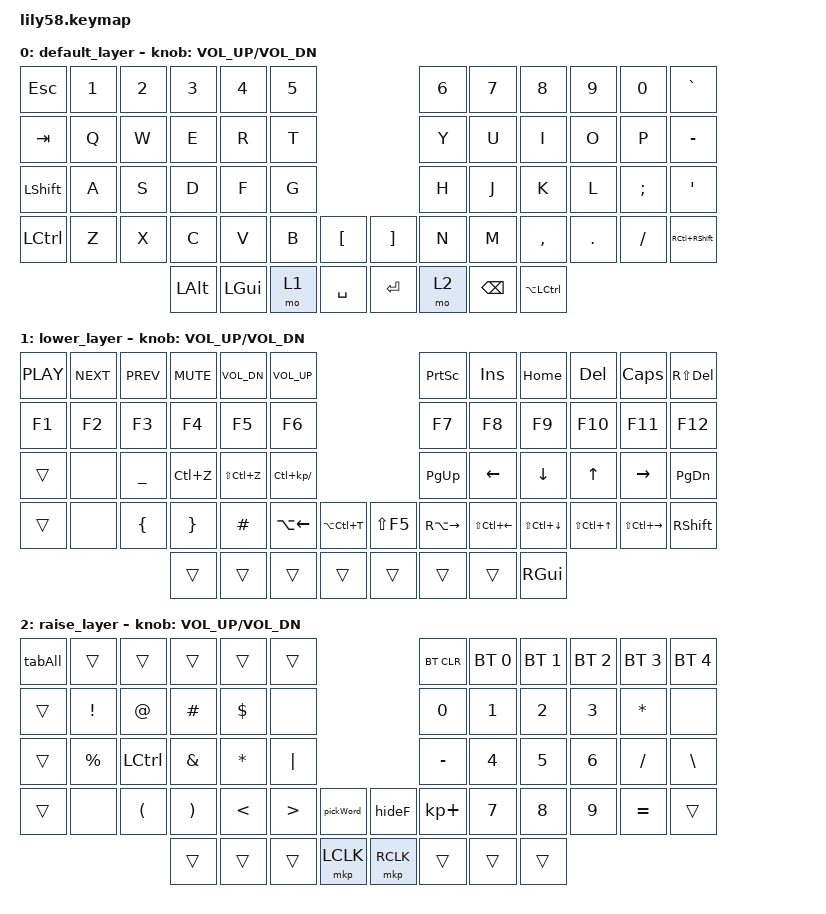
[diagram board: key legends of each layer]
/*
 * Copyright (c) 2020 The ZMK Contributors
 *
 * SPDX-License-Identifier: MIT
 */

#include <behaviors.dtsi>
#include <dt-bindings/zmk/bt.h>
#include <dt-bindings/zmk/keys.h>
#include <dt-bindings/zmk/mouse.h>

/ {
    macros {
        pickWord: pickWord {
            compatible = "zmk,behavior-macro";
            #binding-cells = <0>;
            bindings = <&kp LC(LEFT_ARROW) &kp RS(RC(RIGHT_ARROW))>;
            label = "PICKWORD";
        };

        hideF: hideF {
            compatible = "zmk,behavior-macro";
            #binding-cells = <0>;
            bindings = <&kp LC(RIGHT_BRACE) &kp RS(RC(LEFT_BRACE)) &kp LC(KP_SLASH)>;
            label = "HIDEF";
        };

        tabAll: tabAll {
            compatible = "zmk,behavior-macro";
            #binding-cells = <0>;
            bindings = <&kp LC(A) &kp LC(I)>;
            label = "TABALL";
        };
    };

    keymap {
        compatible = "zmk,keymap";

        default_layer {
            // ------------------------------------------------------------------------------------------------------------
            // |  ESC  |  1  |  2  |  3   |  4   |  5   |                   |  6   |  7    |  8    |  9   |   0   |   `   |
            // |  TAB  |  Q  |  W  |  E   |  R   |  T   |                   |  Y   |  U    |  I    |  O   |   P   |   -   |
            // |  CTRL |  A  |  S  |  D   |  F   |  G   |                   |  H   |  J    |  K    |  L   |   ;   |   '   |
            // | SHIFT |  Z  |  X  |  C   |  V   |  B   |   "["  |  |  "]"  |  N   |  M    |  ,    |  .   |   /   | SHIFT |
            //                     | ALT  | GUI  | LOWER|  SPACE |  | ENTER | RAISE| BSPC  | GUI   |

            bindings = <
&kp ESC           &kp N1  &kp N2  &kp N3    &kp N4    &kp N5                         &kp N6  &kp N7    &kp N8                &kp N9   &kp N0    &kp GRAVE
&kp TAB           &kp Q   &kp W   &kp E     &kp R     &kp T                          &kp Y   &kp U     &kp I                 &kp O    &kp P     &kp MINUS
&kp LEFT_SHIFT    &kp A   &kp S   &kp D     &kp F     &kp G                          &kp H   &kp J     &kp K                 &kp L    &kp SEMI  &kp SQT
&kp LEFT_CONTROL  &kp Z   &kp X   &kp C     &kp V     &kp B   &kp LBKT     &kp RBKT  &kp N   &kp M     &kp COMMA             &kp DOT  &kp FSLH  &kp RC(RIGHT_SHIFT)
                                  &kp LALT  &kp LGUI  &mo 1   &kp SPACE    &kp RET   &mo 2   &kp BSPC  &kp LA(LEFT_CONTROL)
            >;

            sensor-bindings = <&inc_dec_kp C_VOL_UP C_VOL_DN>;
        };

        lower_layer {
            // --------------------------------------------------------------------------------------------------------------
            // | LPAD  | BRDn | BRUp |  MUT |  Vo- |  Vo+ |                   |      |       |       |      |       |       |
            // |  F1   |  F2  |  F3  |  F4  |  F5  |  F6  |                   |  F7  |  F8   |  F9   |  F10 |  F11  |  F12  |
            // |   `   |  !   |  @   |  #   |  $   |  %   |                   |  ^   |  &    |  *    |  (   |   )   |   ~   |
            // |       |      |      |      |      |      |        |  |       |      |  _    |  +    |  {   |   }   |  "|"  |
            //                       |      |      |      |        |  |       |      |       |       |

            bindings = <
&kp C_PLAY  &kp C_NEXT  &kp C_PREV      &kp C_MUTE       &kp C_VOL_DN   &kp C_VOL_UP                                     &kp PRINTSCREEN  &kp INSERT              &kp HOME                &kp DELETE            &kp CAPSLOCK             &kp RS(DELETE)
&kp F1      &kp F2      &kp F3          &kp F4           &kp F5         &kp F6                                           &kp F7           &kp F8                  &kp F9                  &kp F10               &kp F11                  &kp F12
&trans      &none       &kp UNDERSCORE  &kp LC(Z)        &kp LS(LC(Z))  &kp LC(KP_SLASH)                                 &kp PAGE_UP      &kp LEFT_ARROW          &kp DOWN_ARROW          &kp UP_ARROW          &kp RIGHT_ARROW          &kp PAGE_DOWN
&trans      &none       &kp LEFT_BRACE  &kp RIGHT_BRACE  &kp HASH       &kp LA(LEFT_ARROW)  &kp LA(LC(T))    &kp LS(F5)  &kp RA(RIGHT)    &kp LS(LC(LEFT_ARROW))  &kp LS(LC(DOWN_ARROW))  &kp LS(LC(UP_ARROW))  &kp LS(LC(RIGHT_ARROW))  &kp RIGHT_SHIFT
                                        &trans           &trans         &trans              &trans           &trans      &trans           &trans                  &kp RIGHT_GUI
            >;

            sensor-bindings = <&inc_dec_kp C_VOL_UP C_VOL_DN>;
        };

        raise_layer {
            // ------------------------------------------------------------------------------------------------------------
            // |       |     |     |      |      |      |                   |      |       |       |      |       |       |
            // |   `   |  1  |  2  |  3   |  4   |  5   |                   |  6   |   7   |   8   |  9   |   0   |       |
            // |   F1  |  F2 |  F3 |  F4  |  F5  |  F6  |                   |      |   <-  |   v   |  ^   |  ->   |       |
            // |   F7  |  F8 |  F9 |  F10 |  F11 |  F12 |        |  |       |  +   |   -   |   =   |  [   |   ]   |   \   |
            //                     |      |      |      |        |  |       |      |       |       |

            bindings = <
&tabAll  &trans           &trans                &trans                 &trans         &trans                                    &bt BT_CLR   &bt BT_SEL 0  &bt BT_SEL 1  &bt BT_SEL 2  &bt BT_SEL 3  &bt BT_SEL 4
&trans   &kp EXCLAMATION  &kp AT_SIGN           &kp HASH               &kp DOLLAR     &none                                     &kp N0       &kp N1        &kp N2        &kp N3        &kp STAR      &none
&trans   &kp PERCENT      &kp LCTRL             &kp AMPERSAND          &kp ASTERISK   &kp PIPE                                  &kp MINUS    &kp N4        &kp N5        &kp N6        &kp SLASH     &kp BACKSLASH
&trans   &none            &kp LEFT_PARENTHESIS  &kp RIGHT_PARENTHESIS  &kp LESS_THAN  &kp GREATER_THAN  &pickWord    &hideF     &kp KP_PLUS  &kp N7        &kp N8        &kp N9        &kp EQUAL     &trans
                                                &trans                 &trans         &trans            &mkp LCLK    &mkp RCLK  &trans       &trans        &trans
            >;

            sensor-bindings = <&inc_dec_kp C_VOL_UP C_VOL_DN>;
        };
    };
};
